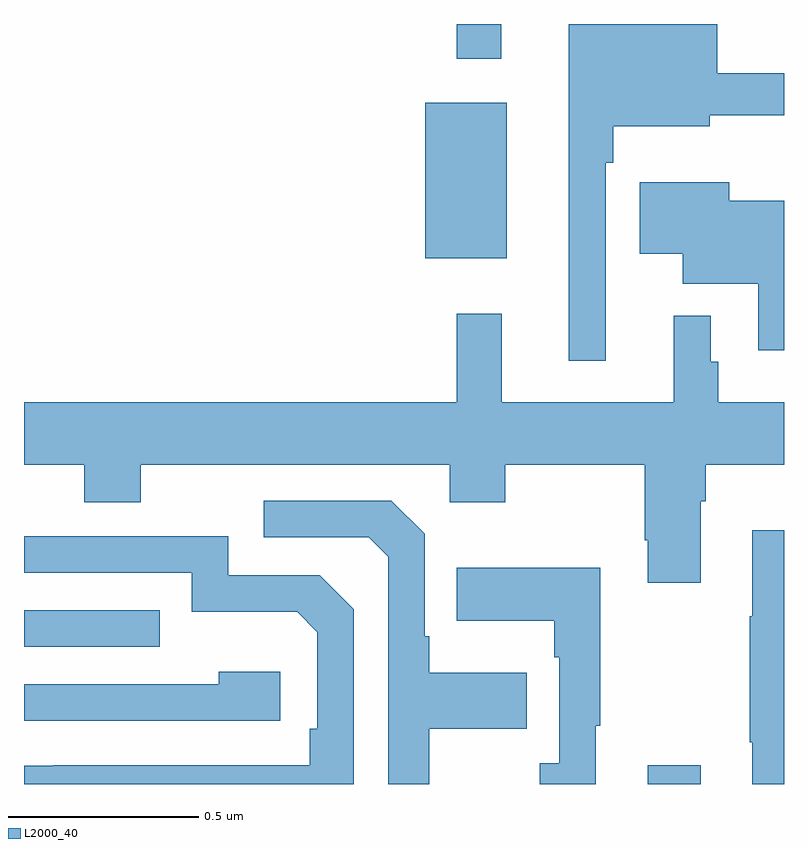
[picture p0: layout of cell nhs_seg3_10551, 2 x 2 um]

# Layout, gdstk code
import gdstk
lib = gdstk.Library(unit=1e-6, precision=1e-09)
def R(c, l, rs):  # rectangles x0, y0, x1, y1
    for r in rs: c.add(gdstk.rectangle(r[:2], r[2:], *l))
def P(c, l, *ps):  # polygons
    for p in ps: c.add(gdstk.Polygon(p, *l))
L2000_40 = (2000, 40)

nhs_seg3_10551 = lib.new_cell('nhs_seg3_10551')
R(nhs_seg3_10551, L2000_40, [(243.641,709.4,243.781,709.45), (242,709.761,242.357,709.857), (243.056,710.783,243.271,711.193), (243.139,711.309,243.256,711.4)])
P(nhs_seg3_10551, L2000_40, [(243.531,711.035),(243.551,711.035),(243.551,711.131),(243.805,711.131),(243.805,711.16),(244,711.16),(244,711.271),(243.824,711.271),(243.824,711.4),(243.434,711.4),(243.434,710.514),(243.531,710.514)],
  [(244,710.935),(243.856,710.935),(243.856,710.983),(243.62,710.983),(243.62,710.795),(243.734,710.795),(243.734,710.717),(243.932,710.717),(243.932,710.541),(244,710.541)],
  [(243.781,710.144),(243.794,710.144),(243.794,710.24),(244,710.24),(244,710.404),(243.827,710.404),(243.827,710.511),(243.807,710.511),(243.807,710.632),(243.71,710.632),(243.71,710.404),(243.257,710.404),(243.257,710.638),(243.139,710.638),(243.139,710.404),(242,710.404),(242,710.24),(242.159,710.24),(242.159,710.141),(242.307,710.141),(242.307,710.24),(243.12,710.24),(243.12,710.141),(243.267,710.141),(243.267,710.24),(243.634,710.24),(243.634,710.041),(243.641,710.041),(243.641,709.929),(243.781,709.929)],
  [(243.067,709.546),(243.323,709.546),(243.323,709.693),(243.067,709.693),(243.067,709.789),(243.054,709.789),(243.054,710.058),(242.967,710.145),(242.631,710.145),(242.631,710.049),(242.907,710.049),(242.958,709.998),(242.958,709.4),(243.067,709.4)],
  [(244,710.068),(243.917,710.068),(243.917,709.841),(243.91,709.841),(243.91,709.51),(243.917,709.51),(243.917,709.4),(244,709.4)],
  [(242.868,709.86),(242.778,709.95),(242.538,709.95),(242.538,710.052),(242,710.052),(242,709.956),(242.442,709.956),(242.442,709.853),(242.719,709.853),(242.772,709.8),(242.772,709.546),(242.752,709.546),(242.752,709.449),(242.077,709.449),(242.077,709.448),(242,709.448),(242,709.4),(242.868,709.4)],
  [(243.505,709.553),(243.517,709.553),(243.517,709.969),(243.139,709.969),(243.139,709.829),(243.396,709.829),(243.396,709.733),(243.408,709.733),(243.408,709.454),(243.357,709.454),(243.357,709.4),(243.505,709.4)],
  [(242.674,709.696),(242.513,709.696),(242.513,709.662),(242,709.662),(242,709.566),(242.674,709.566)])

lib.write_gds('nhs_seg3_10551.gds')
